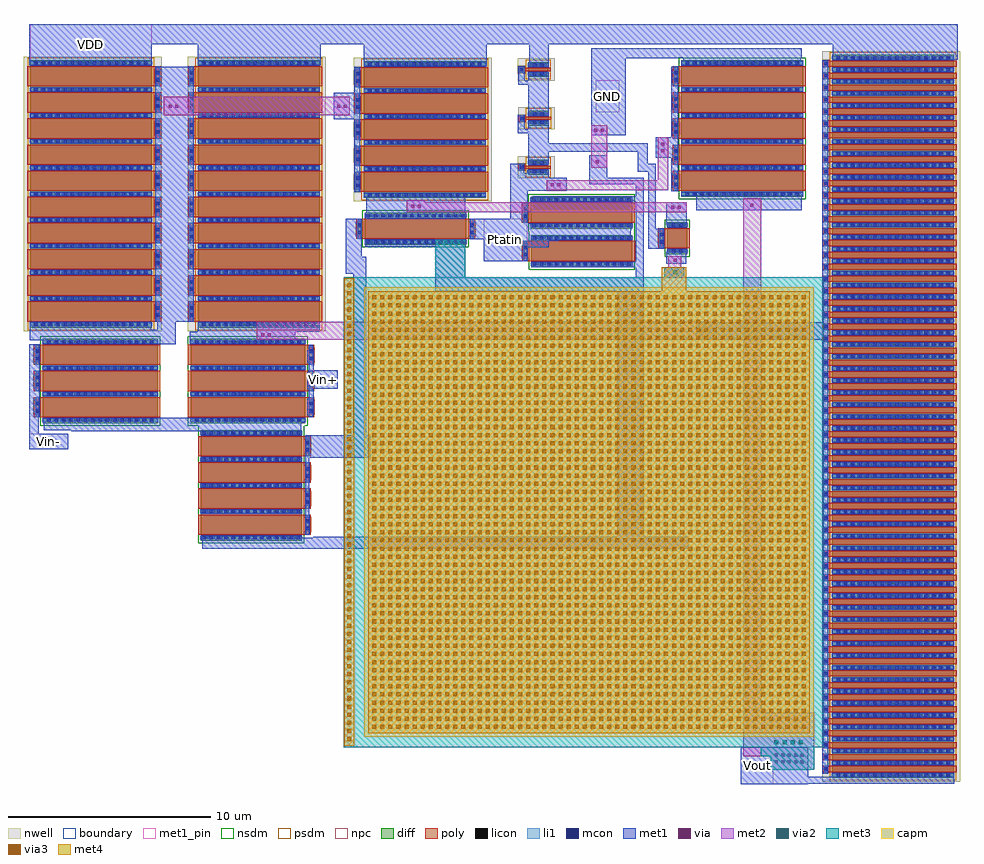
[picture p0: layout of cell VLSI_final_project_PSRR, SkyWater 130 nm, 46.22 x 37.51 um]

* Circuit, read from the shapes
.subckt VLSI_final_project_PSRR GND Ptatin VDD Vin+ Vin- Vout
XM1 n1 Vin- n2 VSUBS sky130_fd_pr__nfet_01v8 w=5.67 l=1
XM2 n3 Vin- n1 VSUBS sky130_fd_pr__nfet_01v8 w=5.67 l=1
XM3 n4 Vin- n3 VSUBS sky130_fd_pr__nfet_01v8 w=5.67 l=1
XM4 n5 Vin+ n2 VSUBS sky130_fd_pr__nfet_01v8 w=5.67 l=1
XM5 n6 Vin+ n5 VSUBS sky130_fd_pr__nfet_01v8 w=5.67 l=1
XM6 n7 Vin+ n6 VSUBS sky130_fd_pr__nfet_01v8 w=5.67 l=1
XM7 n8 Ptatin GND VSUBS sky130_fd_pr__nfet_01v8 w=5 l=1
XM8 n9 Ptatin n8 VSUBS sky130_fd_pr__nfet_01v8 w=5 l=1
XM9 n10 Ptatin n9 VSUBS sky130_fd_pr__nfet_01v8 w=5 l=1
XM10 n2 Ptatin n10 VSUBS sky130_fd_pr__nfet_01v8 w=5 l=1
XM11 n11 Ptatin GND VSUBS sky130_fd_pr__nfet_01v8 w=5 l=1
XM12 GND Ptatin Ptatin VSUBS sky130_fd_pr__nfet_01v8 w=5 l=1 m=2
XM13 n11 n12 Vout VSUBS sky130_fd_pr__nfet_01v8 w=1 l=1
XM14 n13 Ptatin Vout VSUBS sky130_fd_pr__nfet_01v8 w=6 l=1
XM15 n14 Ptatin n13 VSUBS sky130_fd_pr__nfet_01v8 w=6 l=1
XM16 n15 Ptatin n14 VSUBS sky130_fd_pr__nfet_01v8 w=6 l=1
XM17 n16 Ptatin n15 VSUBS sky130_fd_pr__nfet_01v8 w=6 l=1
XM18 GND Ptatin n16 VSUBS sky130_fd_pr__nfet_01v8 w=6 l=1
XM19 n17 n4 n4 n18 sky130_fd_pr__pfet_01v8 w=6 l=1
XM20 n19 n4 n17 n18 sky130_fd_pr__pfet_01v8 w=6 l=1
XM21 n20 n4 n19 n18 sky130_fd_pr__pfet_01v8 w=6 l=1
XM22 n21 n4 n20 n18 sky130_fd_pr__pfet_01v8 w=6 l=1
XM23 n22 n4 n21 n18 sky130_fd_pr__pfet_01v8 w=6 l=1
XM24 n23 n4 n22 n18 sky130_fd_pr__pfet_01v8 w=6 l=1
XM25 n24 n4 n23 n18 sky130_fd_pr__pfet_01v8 w=6 l=1
XM26 n25 n4 n24 n18 sky130_fd_pr__pfet_01v8 w=6 l=1
XM27 n26 n4 n25 n18 sky130_fd_pr__pfet_01v8 w=6 l=1
XM28 VDD n4 n26 n18 sky130_fd_pr__pfet_01v8 w=6 l=1
XM29 n27 n4 n7 n28 sky130_fd_pr__pfet_01v8 w=6 l=1
XM30 n29 n4 n27 n28 sky130_fd_pr__pfet_01v8 w=6 l=1
XM31 n30 n4 n29 n28 sky130_fd_pr__pfet_01v8 w=6 l=1
XM32 n31 n4 n30 n28 sky130_fd_pr__pfet_01v8 w=6 l=1
XM33 n32 n4 n31 n28 sky130_fd_pr__pfet_01v8 w=6 l=1
XM34 n33 n4 n32 n28 sky130_fd_pr__pfet_01v8 w=6 l=1
XM35 n34 n4 n33 n28 sky130_fd_pr__pfet_01v8 w=6 l=1
XM36 n35 n4 n34 n28 sky130_fd_pr__pfet_01v8 w=6 l=1
XM37 n36 n4 n35 n28 sky130_fd_pr__pfet_01v8 w=6 l=1
XM38 VDD n4 n36 n28 sky130_fd_pr__pfet_01v8 w=6 l=1
XM39 n37 n4 n11 n38 sky130_fd_pr__pfet_01v8 w=6 l=1
XM40 n39 n4 n37 n38 sky130_fd_pr__pfet_01v8 w=6 l=1
XM41 n40 n4 n39 n38 sky130_fd_pr__pfet_01v8 w=6 l=1
XM42 n41 n4 n40 n38 sky130_fd_pr__pfet_01v8 w=6 l=1
XM43 VDD n4 n41 n38 sky130_fd_pr__pfet_01v8 w=6 l=1
XM44 n12 Ptatin Ptatin n42 sky130_fd_pr__pfet_01v8 w=1 l=0.15
XM45 VDD n43 n43 n44 sky130_fd_pr__pfet_01v8 w=1 l=0.15
XM46 n43 n12 n12 n45 sky130_fd_pr__pfet_01v8 w=1 l=0.15
XM47 n46 n7 Vout n47 sky130_fd_pr__pfet_01v8 w=6 l=0.3
XM48 n48 n7 n46 n47 sky130_fd_pr__pfet_01v8 w=6 l=0.3
XM49 n49 n7 n48 n47 sky130_fd_pr__pfet_01v8 w=6 l=0.3
XM50 n50 n7 n49 n47 sky130_fd_pr__pfet_01v8 w=6 l=0.3
XM51 n51 n7 n50 n47 sky130_fd_pr__pfet_01v8 w=6 l=0.3
XM52 n52 n7 n51 n47 sky130_fd_pr__pfet_01v8 w=6 l=0.3
XM53 n53 n7 n52 n47 sky130_fd_pr__pfet_01v8 w=6 l=0.3
XM54 n54 n7 n53 n47 sky130_fd_pr__pfet_01v8 w=6 l=0.3
XM55 n55 n7 n54 n47 sky130_fd_pr__pfet_01v8 w=6 l=0.3
XM56 n56 n7 n55 n47 sky130_fd_pr__pfet_01v8 w=6 l=0.3
XM57 n57 n7 n56 n47 sky130_fd_pr__pfet_01v8 w=6 l=0.3
XM58 n58 n7 n57 n47 sky130_fd_pr__pfet_01v8 w=6 l=0.3
XM59 n59 n7 n58 n47 sky130_fd_pr__pfet_01v8 w=6 l=0.3
XM60 n60 n7 n59 n47 sky130_fd_pr__pfet_01v8 w=6 l=0.3
XM61 n61 n7 n60 n47 sky130_fd_pr__pfet_01v8 w=6 l=0.3
XM62 n62 n7 n61 n47 sky130_fd_pr__pfet_01v8 w=6 l=0.3
XM63 n63 n7 n62 n47 sky130_fd_pr__pfet_01v8 w=6 l=0.3
XM64 n64 n7 n63 n47 sky130_fd_pr__pfet_01v8 w=6 l=0.3
XM65 n65 n7 n64 n47 sky130_fd_pr__pfet_01v8 w=6 l=0.3
XM66 n66 n7 n65 n47 sky130_fd_pr__pfet_01v8 w=6 l=0.3
XM67 n67 n7 n66 n47 sky130_fd_pr__pfet_01v8 w=6 l=0.3
XM68 n68 n7 n67 n47 sky130_fd_pr__pfet_01v8 w=6 l=0.3
XM69 n69 n7 n68 n47 sky130_fd_pr__pfet_01v8 w=6 l=0.3
XM70 n70 n7 n69 n47 sky130_fd_pr__pfet_01v8 w=6 l=0.3
XM71 n71 n7 n70 n47 sky130_fd_pr__pfet_01v8 w=6 l=0.3
XM72 n72 n7 n71 n47 sky130_fd_pr__pfet_01v8 w=6 l=0.3
XM73 n73 n7 n72 n47 sky130_fd_pr__pfet_01v8 w=6 l=0.3
XM74 n74 n7 n73 n47 sky130_fd_pr__pfet_01v8 w=6 l=0.3
XM75 n75 n7 n74 n47 sky130_fd_pr__pfet_01v8 w=6 l=0.3
XM76 n76 n7 n75 n47 sky130_fd_pr__pfet_01v8 w=6 l=0.3
XM77 n77 n7 n76 n47 sky130_fd_pr__pfet_01v8 w=6 l=0.3
XM78 n78 n7 n77 n47 sky130_fd_pr__pfet_01v8 w=6 l=0.3
XM79 n79 n7 n78 n47 sky130_fd_pr__pfet_01v8 w=6 l=0.3
XM80 n80 n7 n79 n47 sky130_fd_pr__pfet_01v8 w=6 l=0.3
XM81 n81 n7 n80 n47 sky130_fd_pr__pfet_01v8 w=6 l=0.3
XM82 n82 n7 n81 n47 sky130_fd_pr__pfet_01v8 w=6 l=0.3
XM83 n83 n7 n82 n47 sky130_fd_pr__pfet_01v8 w=6 l=0.3
XM84 n84 n7 n83 n47 sky130_fd_pr__pfet_01v8 w=6 l=0.3
XM85 n85 n7 n84 n47 sky130_fd_pr__pfet_01v8 w=6 l=0.3
XM86 n86 n7 n85 n47 sky130_fd_pr__pfet_01v8 w=6 l=0.3
XM87 n87 n7 n86 n47 sky130_fd_pr__pfet_01v8 w=6 l=0.3
XM88 n88 n7 n87 n47 sky130_fd_pr__pfet_01v8 w=6 l=0.3
XM89 n89 n7 n88 n47 sky130_fd_pr__pfet_01v8 w=6 l=0.3
XM90 n90 n7 n89 n47 sky130_fd_pr__pfet_01v8 w=6 l=0.3
XM91 n91 n7 n90 n47 sky130_fd_pr__pfet_01v8 w=6 l=0.3
XM92 n92 n7 n91 n47 sky130_fd_pr__pfet_01v8 w=6 l=0.3
XM93 n93 n7 n92 n47 sky130_fd_pr__pfet_01v8 w=6 l=0.3
XM94 n94 n7 n93 n47 sky130_fd_pr__pfet_01v8 w=6 l=0.3
XM95 n95 n7 n94 n47 sky130_fd_pr__pfet_01v8 w=6 l=0.3
XM96 n96 n7 n95 n47 sky130_fd_pr__pfet_01v8 w=6 l=0.3
XM97 n97 n7 n96 n47 sky130_fd_pr__pfet_01v8 w=6 l=0.3
XM98 n98 n7 n97 n47 sky130_fd_pr__pfet_01v8 w=6 l=0.3
XM99 n99 n7 n98 n47 sky130_fd_pr__pfet_01v8 w=6 l=0.3
XM100 n100 n7 n99 n47 sky130_fd_pr__pfet_01v8 w=6 l=0.3
XM101 n101 n7 n100 n47 sky130_fd_pr__pfet_01v8 w=6 l=0.3
XM102 n102 n7 n101 n47 sky130_fd_pr__pfet_01v8 w=6 l=0.3
XM103 n103 n7 n102 n47 sky130_fd_pr__pfet_01v8 w=6 l=0.3
XM104 n104 n7 n103 n47 sky130_fd_pr__pfet_01v8 w=6 l=0.3
XM105 n105 n7 n104 n47 sky130_fd_pr__pfet_01v8 w=6 l=0.3
XM106 VDD n7 n105 n47 sky130_fd_pr__pfet_01v8 w=6 l=0.3
XC107 n106 Vout sky130_fd_pr__cap_mim_m3_1 w=22.2 l=22.2
.ends

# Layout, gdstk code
from math import pi, radians
import gdstk
lib = gdstk.Library(unit=1e-6, precision=1e-09)
def R(c, l, rs):  # rectangles x0, y0, x1, y1
    for r in rs: c.add(gdstk.rectangle(r[:2], r[2:], *l))
def A(c, l, x, y, w, h, nx, ny, dx, dy):  # array of equal rectangles
    R(c, l, [(x+i*dx, y+j*dy, x+i*dx+w, y+j*dy+h) for i in range(nx) for j in range(ny)])
nwell = (64, 20)
diff = (65, 20)
poly = (66, 20)
licon = (66, 44)
li1 = (67, 20)
mcon = (67, 44)
met1_pin = (68, 16)
met1 = (68, 20)
via = (68, 44)
met2 = (69, 20)
via2 = (69, 44)
met3 = (70, 20)
via3 = (70, 44)
met4 = (71, 20)
capm = (89, 44)
nsdm = (93, 44)
psdm = (94, 20)
npc = (95, 20)
boundary = (235, 4)

sky130_fd_pr__nfet_01v8_ = lib.new_cell('sky130_fd_pr__nfet_01v8_2ZP93L')
R(sky130_fd_pr__nfet_01v8_, diff, [(-2.08,-2.99,2.08,2.68)])
A(sky130_fd_pr__nfet_01v8_, poly, -1.79, -3.12, 1, 6.24, 3, 1, 1.29, 0)
A(sky130_fd_pr__nfet_01v8_, licon, -2.02, -2.79, 0.17, 0.17, 4, 16, 1.29, 0.34)
R(sky130_fd_pr__nfet_01v8_, licon, [(-1.545,2.87,-1.375,3.04), (-1.205,2.87,-1.035,3.04), (-0.255,2.87,-0.085,3.04), (0.085,2.87,0.255,3.04), (1.035,2.87,1.205,3.04), (1.375,2.87,1.545,3.04)])
A(sky130_fd_pr__nfet_01v8_, li1, -2.02, -3.01, 0.17, 5.71, 4, 1, 1.29, 0)
A(sky130_fd_pr__nfet_01v8_, li1, -1.79, 2.87, 1, 0.17, 3, 1, 1.29, 0)
A(sky130_fd_pr__nfet_01v8_, mcon, -2.02, -2.76, 0.17, 0.17, 4, 15, 1.29, 0.36)
R(sky130_fd_pr__nfet_01v8_, mcon, [(-1.555,2.87,-1.385,3.04), (-1.195,2.87,-1.025,3.04), (-0.265,2.87,-0.095,3.04), (0.095,2.87,0.265,3.04), (1.025,2.87,1.195,3.04), (1.385,2.87,1.555,3.04)])
A(sky130_fd_pr__nfet_01v8_, met1, -2.05, -2.99, 0.23, 5.67, 4, 1, 1.29, 0)
A(sky130_fd_pr__nfet_01v8_, met1, -1.77, 2.84, 0.96, 0.23, 3, 1, 1.29, 0)
R(sky130_fd_pr__nfet_01v8_, nsdm, [(-2.205,-3.115,2.205,2.805)])
A(sky130_fd_pr__nfet_01v8_, npc, -1.645, 2.77, 0.71, 0.37, 3, 1, 1.29, 0)

sky130_fd_pr__pfet_01v8_ = lib.new_cell('sky130_fd_pr__pfet_01v8_SZN6ZN')
R(sky130_fd_pr__pfet_01v8_, nwell, [(-6.775,-3.49,6.775,3.32)])
R(sky130_fd_pr__pfet_01v8_, diff, [(-6.595,-3.18,6.595,2.82)])
A(sky130_fd_pr__pfet_01v8_, poly, -6.305, -3.31, 1, 6.615, 10, 1, 1.29, 0)
A(sky130_fd_pr__pfet_01v8_, licon, -6.535, -2.985, 0.17, 0.17, 11, 17, 1.29, 0.34)
R(sky130_fd_pr__pfet_01v8_, licon, [(-6.06,3.055,-5.89,3.225), (-5.72,3.055,-5.55,3.225), (-4.77,3.055,-4.6,3.225), (-4.43,3.055,-4.26,3.225), (-3.48,3.055,-3.31,3.225), (-3.14,3.055,-2.97,3.225), (-2.19,3.055,-2.02,3.225), (-1.85,3.055,-1.68,3.225), (-0.9,3.055,-0.73,3.225), (-0.56,3.055,-0.39,3.225), (0.39,3.055,0.56,3.225), (0.73,3.055,0.9,3.225), (1.68,3.055,1.85,3.225), (2.02,3.055,2.19,3.225), (2.97,3.055,3.14,3.225), (3.31,3.055,3.48,3.225), (4.26,3.055,4.43,3.225), (4.6,3.055,4.77,3.225), (5.55,3.055,5.72,3.225), (5.89,3.055,6.06,3.225)])
A(sky130_fd_pr__pfet_01v8_, li1, -6.535, -3.2, 0.17, 6.04, 11, 1, 1.29, 0)
A(sky130_fd_pr__pfet_01v8_, li1, -6.305, 3.055, 1, 0.17, 10, 1, 1.29, 0)
A(sky130_fd_pr__pfet_01v8_, mcon, -6.535, -2.965, 0.17, 0.17, 11, 16, 1.29, 0.36)
R(sky130_fd_pr__pfet_01v8_, mcon, [(-6.07,3.055,-5.9,3.225), (-5.71,3.055,-5.54,3.225), (-4.78,3.055,-4.61,3.225), (-4.42,3.055,-4.25,3.225), (-3.49,3.055,-3.32,3.225), (-3.13,3.055,-2.96,3.225), (-2.2,3.055,-2.03,3.225), (-1.84,3.055,-1.67,3.225), (-0.91,3.055,-0.74,3.225), (-0.55,3.055,-0.38,3.225), (0.38,3.055,0.55,3.225), (0.74,3.055,0.91,3.225), (1.67,3.055,1.84,3.225), (2.03,3.055,2.2,3.225), (2.96,3.055,3.13,3.225), (3.32,3.055,3.49,3.225), (4.25,3.055,4.42,3.225), (4.61,3.055,4.78,3.225), (5.54,3.055,5.71,3.225), (5.9,3.055,6.07,3.225)])
A(sky130_fd_pr__pfet_01v8_, met1, -6.565, -3.18, 0.23, 6, 11, 1, 1.29, 0)
A(sky130_fd_pr__pfet_01v8_, met1, -6.285, 3.025, 0.96, 0.23, 10, 1, 1.29, 0)
R(sky130_fd_pr__pfet_01v8_, psdm, [(-6.72,-3.305,6.72,2.945)])
A(sky130_fd_pr__pfet_01v8_, npc, -6.16, 2.955, 0.71, 0.37, 10, 1, 1.29, 0)

c_sky130_fd_pr__nfet_01v8_ = lib.new_cell('sky130_fd_pr__nfet_01v8_73QE7N')
R(c_sky130_fd_pr__nfet_01v8_, diff, [(-2.725,-2.655,2.725,2.345)])
A(c_sky130_fd_pr__nfet_01v8_, poly, -2.435, -2.785, 1, 5.57, 4, 1, 1.29, 0)
A(c_sky130_fd_pr__nfet_01v8_, licon, -2.665, -2.45, 0.17, 0.17, 5, 14, 1.29, 0.34)
R(c_sky130_fd_pr__nfet_01v8_, licon, [(-2.19,2.535,-2.02,2.705), (-1.85,2.535,-1.68,2.705), (-0.9,2.535,-0.73,2.705), (-0.56,2.535,-0.39,2.705), (0.39,2.535,0.56,2.705), (0.73,2.535,0.9,2.705), (1.68,2.535,1.85,2.705), (2.02,2.535,2.19,2.705)])
A(c_sky130_fd_pr__nfet_01v8_, li1, -2.665, -2.675, 0.17, 5.04, 5, 1, 1.29, 0)
A(c_sky130_fd_pr__nfet_01v8_, li1, -2.435, 2.535, 1, 0.17, 4, 1, 1.29, 0)
A(c_sky130_fd_pr__nfet_01v8_, mcon, -2.665, -2.58, 0.17, 0.17, 5, 14, 1.29, 0.36)
R(c_sky130_fd_pr__nfet_01v8_, mcon, [(-2.2,2.535,-2.03,2.705), (-1.84,2.535,-1.67,2.705), (-0.91,2.535,-0.74,2.705), (-0.55,2.535,-0.38,2.705), (0.38,2.535,0.55,2.705), (0.74,2.535,0.91,2.705), (1.67,2.535,1.84,2.705), (2.03,2.535,2.2,2.705)])
A(c_sky130_fd_pr__nfet_01v8_, met1, -2.695, -2.655, 0.23, 5, 5, 1, 1.29, 0)
A(c_sky130_fd_pr__nfet_01v8_, met1, -2.415, 2.505, 0.96, 0.23, 4, 1, 1.29, 0)
R(c_sky130_fd_pr__nfet_01v8_, nsdm, [(-2.85,-2.78,2.85,2.47)])
A(c_sky130_fd_pr__nfet_01v8_, npc, -2.29, 2.435, 0.71, 0.37, 4, 1, 1.29, 0)

c_sky130_fd_pr__pfet_01v8_ = lib.new_cell('sky130_fd_pr__pfet_01v8_XL4TZD')
R(c_sky130_fd_pr__pfet_01v8_, nwell, [(-3.55,-3.32,3.55,3.49)])
R(c_sky130_fd_pr__pfet_01v8_, diff, [(-3.37,-2.82,3.37,3.18)])
A(c_sky130_fd_pr__pfet_01v8_, poly, -3.08, -3.305, 1, 6.615, 5, 1, 1.29, 0)
A(c_sky130_fd_pr__pfet_01v8_, licon, -3.31, -2.625, 0.17, 0.17, 6, 17, 1.29, 0.34)
R(c_sky130_fd_pr__pfet_01v8_, licon, [(-2.835,-3.225,-2.665,-3.055), (-2.495,-3.225,-2.325,-3.055), (-1.545,-3.225,-1.375,-3.055), (-1.205,-3.225,-1.035,-3.055), (-0.255,-3.225,-0.085,-3.055), (0.085,-3.225,0.255,-3.055), (1.035,-3.225,1.205,-3.055), (1.375,-3.225,1.545,-3.055), (2.325,-3.225,2.495,-3.055), (2.665,-3.225,2.835,-3.055)])
A(c_sky130_fd_pr__pfet_01v8_, li1, -3.08, -3.225, 1, 0.17, 5, 1, 1.29, 0)
A(c_sky130_fd_pr__pfet_01v8_, li1, -3.31, -2.84, 0.17, 6.04, 6, 1, 1.29, 0)
A(c_sky130_fd_pr__pfet_01v8_, mcon, -3.31, -2.605, 0.17, 0.17, 6, 16, 1.29, 0.36)
R(c_sky130_fd_pr__pfet_01v8_, mcon, [(-2.845,-3.225,-2.675,-3.055), (-2.485,-3.225,-2.315,-3.055), (-1.555,-3.225,-1.385,-3.055), (-1.195,-3.225,-1.025,-3.055), (-0.265,-3.225,-0.095,-3.055), (0.095,-3.225,0.265,-3.055), (1.025,-3.225,1.195,-3.055), (1.385,-3.225,1.555,-3.055), (2.315,-3.225,2.485,-3.055), (2.675,-3.225,2.845,-3.055)])
A(c_sky130_fd_pr__pfet_01v8_, met1, -3.06, -3.255, 0.96, 0.23, 5, 1, 1.29, 0)
A(c_sky130_fd_pr__pfet_01v8_, met1, -3.34, -2.82, 0.23, 6, 6, 1, 1.29, 0)
R(c_sky130_fd_pr__pfet_01v8_, psdm, [(-3.495,-2.945,3.495,3.305)])
A(c_sky130_fd_pr__pfet_01v8_, npc, -2.935, -3.325, 0.71, 0.37, 5, 1, 1.29, 0)

c_sky130_fd_pr__nfet_01v8__ = lib.new_cell('sky130_fd_pr__nfet_01v8_L4PCGF')
R(c_sky130_fd_pr__nfet_01v8__, diff, [(-0.79,-2.5,0.79,2.5)])
R(c_sky130_fd_pr__nfet_01v8__, poly, [(-0.5,-2.94,0.5,2.94)])
A(c_sky130_fd_pr__nfet_01v8__, licon, -0.73, -2.295, 0.17, 0.17, 1, 14, 0, 0.34)
A(c_sky130_fd_pr__nfet_01v8__, licon, 0.56, -2.295, 0.17, 0.17, 1, 14, 0, 0.34)
R(c_sky130_fd_pr__nfet_01v8__, licon, [(-0.255,-2.86,-0.085,-2.69), (0.085,-2.86,0.255,-2.69), (-0.255,2.69,-0.085,2.86), (0.085,2.69,0.255,2.86)])
R(c_sky130_fd_pr__nfet_01v8__, li1, [(-0.5,-2.86,0.5,-2.69), (-0.73,-2.52,-0.56,2.52), (0.56,-2.52,0.73,2.52), (-0.5,2.69,0.5,2.86)])
A(c_sky130_fd_pr__nfet_01v8__, mcon, -0.73, -2.425, 0.17, 0.17, 1, 14, 0, 0.36)
A(c_sky130_fd_pr__nfet_01v8__, mcon, 0.56, -2.425, 0.17, 0.17, 1, 14, 0, 0.36)
R(c_sky130_fd_pr__nfet_01v8__, mcon, [(-0.265,-2.86,-0.095,-2.69), (0.095,-2.86,0.265,-2.69), (-0.265,2.69,-0.095,2.86), (0.095,2.69,0.265,2.86)])
R(c_sky130_fd_pr__nfet_01v8__, met1, [(-0.48,-2.89,0.48,-2.66), (-0.76,-2.5,-0.53,2.5), (0.53,-2.5,0.76,2.5), (-0.48,2.66,0.48,2.89)])
R(c_sky130_fd_pr__nfet_01v8__, nsdm, [(-0.915,-2.625,0.915,2.625)])
R(c_sky130_fd_pr__nfet_01v8__, npc, [(-0.355,-2.96,0.355,-2.59), (-0.355,2.59,0.355,2.96)])

c_sky130_fd_pr__nfet_01v8___ = lib.new_cell('sky130_fd_pr__nfet_01v8_RYY55T')
R(c_sky130_fd_pr__nfet_01v8___, diff, [(-2.08,-2.68,2.08,2.99)])
A(c_sky130_fd_pr__nfet_01v8___, poly, -1.79, -3.12, 1, 6.24, 3, 1, 1.29, 0)
A(c_sky130_fd_pr__nfet_01v8___, licon, -2.02, -2.48, 0.17, 0.17, 4, 16, 1.29, 0.34)
R(c_sky130_fd_pr__nfet_01v8___, licon, [(-1.545,-3.04,-1.375,-2.87), (-1.205,-3.04,-1.035,-2.87), (-0.255,-3.04,-0.085,-2.87), (0.085,-3.04,0.255,-2.87), (1.035,-3.04,1.205,-2.87), (1.375,-3.04,1.545,-2.87)])
A(c_sky130_fd_pr__nfet_01v8___, li1, -1.79, -3.04, 1, 0.17, 3, 1, 1.29, 0)
A(c_sky130_fd_pr__nfet_01v8___, li1, -2.02, -2.7, 0.17, 5.71, 4, 1, 1.29, 0)
A(c_sky130_fd_pr__nfet_01v8___, mcon, -2.02, -2.45, 0.17, 0.17, 4, 15, 1.29, 0.36)
R(c_sky130_fd_pr__nfet_01v8___, mcon, [(-1.555,-3.04,-1.385,-2.87), (-1.195,-3.04,-1.025,-2.87), (-0.265,-3.04,-0.095,-2.87), (0.095,-3.04,0.265,-2.87), (1.025,-3.04,1.195,-2.87), (1.385,-3.04,1.555,-2.87)])
A(c_sky130_fd_pr__nfet_01v8___, met1, -1.77, -3.07, 0.96, 0.23, 3, 1, 1.29, 0)
A(c_sky130_fd_pr__nfet_01v8___, met1, -2.05, -2.68, 0.23, 5.67, 4, 1, 1.29, 0)
R(c_sky130_fd_pr__nfet_01v8___, nsdm, [(-2.205,-2.805,2.205,3.115)])
A(c_sky130_fd_pr__nfet_01v8___, npc, -1.645, -3.14, 0.71, 0.37, 3, 1, 1.29, 0)

c_sky130_fd_pr__pfet_01v8__ = lib.new_cell('sky130_fd_pr__pfet_01v8_9WN6ZY')
R(c_sky130_fd_pr__pfet_01v8__, nwell, [(-6.775,-3.32,6.775,3.49)])
R(c_sky130_fd_pr__pfet_01v8__, diff, [(-6.595,-2.82,6.595,3.18)])
A(c_sky130_fd_pr__pfet_01v8__, poly, -6.305, -3.305, 1, 6.615, 10, 1, 1.29, 0)
A(c_sky130_fd_pr__pfet_01v8__, licon, -6.535, -2.625, 0.17, 0.17, 11, 17, 1.29, 0.34)
R(c_sky130_fd_pr__pfet_01v8__, licon, [(-6.06,-3.225,-5.89,-3.055), (-5.72,-3.225,-5.55,-3.055), (-4.77,-3.225,-4.6,-3.055), (-4.43,-3.225,-4.26,-3.055), (-3.48,-3.225,-3.31,-3.055), (-3.14,-3.225,-2.97,-3.055), (-2.19,-3.225,-2.02,-3.055), (-1.85,-3.225,-1.68,-3.055), (-0.9,-3.225,-0.73,-3.055), (-0.56,-3.225,-0.39,-3.055), (0.39,-3.225,0.56,-3.055), (0.73,-3.225,0.9,-3.055), (1.68,-3.225,1.85,-3.055), (2.02,-3.225,2.19,-3.055), (2.97,-3.225,3.14,-3.055), (3.31,-3.225,3.48,-3.055), (4.26,-3.225,4.43,-3.055), (4.6,-3.225,4.77,-3.055), (5.55,-3.225,5.72,-3.055), (5.89,-3.225,6.06,-3.055)])
A(c_sky130_fd_pr__pfet_01v8__, li1, -6.305, -3.225, 1, 0.17, 10, 1, 1.29, 0)
A(c_sky130_fd_pr__pfet_01v8__, li1, -6.535, -2.84, 0.17, 6.04, 11, 1, 1.29, 0)
A(c_sky130_fd_pr__pfet_01v8__, mcon, -6.535, -2.605, 0.17, 0.17, 11, 16, 1.29, 0.36)
R(c_sky130_fd_pr__pfet_01v8__, mcon, [(-6.07,-3.225,-5.9,-3.055), (-5.71,-3.225,-5.54,-3.055), (-4.78,-3.225,-4.61,-3.055), (-4.42,-3.225,-4.25,-3.055), (-3.49,-3.225,-3.32,-3.055), (-3.13,-3.225,-2.96,-3.055), (-2.2,-3.225,-2.03,-3.055), (-1.84,-3.225,-1.67,-3.055), (-0.91,-3.225,-0.74,-3.055), (-0.55,-3.225,-0.38,-3.055), (0.38,-3.225,0.55,-3.055), (0.74,-3.225,0.91,-3.055), (1.67,-3.225,1.84,-3.055), (2.03,-3.225,2.2,-3.055), (2.96,-3.225,3.13,-3.055), (3.32,-3.225,3.49,-3.055), (4.25,-3.225,4.42,-3.055), (4.61,-3.225,4.78,-3.055), (5.54,-3.225,5.71,-3.055), (5.9,-3.225,6.07,-3.055)])
A(c_sky130_fd_pr__pfet_01v8__, met1, -6.285, -3.255, 0.96, 0.23, 10, 1, 1.29, 0)
A(c_sky130_fd_pr__pfet_01v8__, met1, -6.565, -2.82, 0.23, 6, 11, 1, 1.29, 0)
R(c_sky130_fd_pr__pfet_01v8__, psdm, [(-6.72,-2.945,6.72,3.305)])
A(c_sky130_fd_pr__pfet_01v8__, npc, -6.16, -3.325, 0.71, 0.37, 10, 1, 1.29, 0)

c_sky130_fd_pr__pfet_01v8___ = lib.new_cell('sky130_fd_pr__pfet_01v8_B33NDC')
R(c_sky130_fd_pr__pfet_01v8___, nwell, [(-0.545,-0.82,0.545,0.99)])
R(c_sky130_fd_pr__pfet_01v8___, diff, [(-0.365,-0.32,0.365,0.68)])
R(c_sky130_fd_pr__pfet_01v8___, poly, [(-0.165,-0.805,0.165,-0.475), (-0.075,-0.475,0.075,0.81)])
A(c_sky130_fd_pr__pfet_01v8___, licon, -0.305, -0.245, 0.17, 0.17, 1, 3, 0, 0.34)
A(c_sky130_fd_pr__pfet_01v8___, licon, 0.135, -0.245, 0.17, 0.17, 1, 3, 0, 0.34)
R(c_sky130_fd_pr__pfet_01v8___, licon, [(-0.085,-0.725,0.085,-0.555)])
R(c_sky130_fd_pr__pfet_01v8___, li1, [(-0.165,-0.725,0.165,-0.555), (-0.305,-0.34,-0.135,0.7), (0.135,-0.34,0.305,0.7)])
R(c_sky130_fd_pr__pfet_01v8___, mcon, [(-0.085,-0.725,0.085,-0.555), (-0.305,-0.085,-0.135,0.085), (0.135,-0.085,0.305,0.085), (-0.305,0.275,-0.135,0.445), (0.135,0.275,0.305,0.445)])
R(c_sky130_fd_pr__pfet_01v8___, met1, [(-0.145,-0.755,0.145,-0.525), (-0.335,-0.32,-0.105,0.68), (0.105,-0.32,0.335,0.68)])
R(c_sky130_fd_pr__pfet_01v8___, psdm, [(-0.49,-0.445,0.49,0.805)])
R(c_sky130_fd_pr__pfet_01v8___, npc, [(-0.185,-0.825,0.185,-0.455)])

c_sky130_fd_pr__nfet_01v8____ = lib.new_cell('sky130_fd_pr__nfet_01v8_ND6MQZ')
R(c_sky130_fd_pr__nfet_01v8____, diff, [(-0.79,-2.345,0.79,2.655)])
R(c_sky130_fd_pr__nfet_01v8____, poly, [(-0.5,-2.785,0.5,2.785)])
A(c_sky130_fd_pr__nfet_01v8____, licon, -0.73, -2.14, 0.17, 0.17, 1, 14, 0, 0.34)
A(c_sky130_fd_pr__nfet_01v8____, licon, 0.56, -2.14, 0.17, 0.17, 1, 14, 0, 0.34)
R(c_sky130_fd_pr__nfet_01v8____, licon, [(-0.255,-2.705,-0.085,-2.535), (0.085,-2.705,0.255,-2.535)])
R(c_sky130_fd_pr__nfet_01v8____, li1, [(-0.5,-2.705,0.5,-2.535), (-0.73,-2.365,-0.56,2.675), (0.56,-2.365,0.73,2.675)])
A(c_sky130_fd_pr__nfet_01v8____, mcon, -0.73, -2.27, 0.17, 0.17, 1, 14, 0, 0.36)
A(c_sky130_fd_pr__nfet_01v8____, mcon, 0.56, -2.27, 0.17, 0.17, 1, 14, 0, 0.36)
R(c_sky130_fd_pr__nfet_01v8____, mcon, [(-0.265,-2.705,-0.095,-2.535), (0.095,-2.705,0.265,-2.535)])
R(c_sky130_fd_pr__nfet_01v8____, met1, [(-0.48,-2.735,0.48,-2.505), (-0.76,-2.345,-0.53,2.655), (0.53,-2.345,0.76,2.655)])
R(c_sky130_fd_pr__nfet_01v8____, nsdm, [(-0.915,-2.47,0.915,2.78)])
R(c_sky130_fd_pr__nfet_01v8____, npc, [(-0.355,-2.805,0.355,-2.435)])

c_sky130_fd_pr__nfet_01v8_____ = lib.new_cell('sky130_fd_pr__nfet_01v8_QG6R6A')
R(c_sky130_fd_pr__nfet_01v8_____, diff, [(-0.79,-0.655,0.79,0.345)])
R(c_sky130_fd_pr__nfet_01v8_____, poly, [(-0.5,-0.785,0.5,0.785)])
A(c_sky130_fd_pr__nfet_01v8_____, licon, -0.73, -0.58, 0.17, 0.17, 1, 3, 0, 0.34)
A(c_sky130_fd_pr__nfet_01v8_____, licon, 0.56, -0.58, 0.17, 0.17, 1, 3, 0, 0.34)
R(c_sky130_fd_pr__nfet_01v8_____, licon, [(-0.255,0.535,-0.085,0.705), (0.085,0.535,0.255,0.705)])
R(c_sky130_fd_pr__nfet_01v8_____, li1, [(-0.73,-0.675,-0.56,0.365), (0.56,-0.675,0.73,0.365), (-0.5,0.535,0.5,0.705)])
R(c_sky130_fd_pr__nfet_01v8_____, mcon, [(-0.73,-0.42,-0.56,-0.25), (0.56,-0.42,0.73,-0.25), (-0.73,-0.06,-0.56,0.11), (0.56,-0.06,0.73,0.11), (-0.265,0.535,-0.095,0.705), (0.095,0.535,0.265,0.705)])
R(c_sky130_fd_pr__nfet_01v8_____, met1, [(-0.76,-0.655,-0.53,0.345), (0.53,-0.655,0.76,0.345), (-0.48,0.505,0.48,0.735)])
R(c_sky130_fd_pr__nfet_01v8_____, nsdm, [(-0.915,-0.78,0.915,0.47)])
R(c_sky130_fd_pr__nfet_01v8_____, npc, [(-0.355,0.435,0.355,0.805)])

c_sky130_fd_pr__pfet_01v8____ = lib.new_cell('sky130_fd_pr__pfet_01v8_CYNCWQ')
R(c_sky130_fd_pr__pfet_01v8____, nwell, [(-18.025,-3.49,18.025,3.32)])
R(c_sky130_fd_pr__pfet_01v8____, diff, [(-17.845,-3.18,17.845,2.82)])
A(c_sky130_fd_pr__pfet_01v8____, poly, -17.555, -3.31, 0.3, 6.285, 60, 1, 0.59, 0)
A(c_sky130_fd_pr__pfet_01v8____, poly, -17.57, 2.975, 0.33, 0.33, 60, 1, 0.59, 0)
A(c_sky130_fd_pr__pfet_01v8____, licon, -17.785, -2.985, 0.17, 0.17, 61, 17, 0.59, 0.34)
A(c_sky130_fd_pr__pfet_01v8____, licon, -17.49, 3.055, 0.17, 0.17, 60, 1, 0.59, 0)
A(c_sky130_fd_pr__pfet_01v8____, li1, -17.785, -3.2, 0.17, 6.04, 61, 1, 0.59, 0)
A(c_sky130_fd_pr__pfet_01v8____, li1, -17.57, 3.055, 0.33, 0.17, 60, 1, 0.59, 0)
A(c_sky130_fd_pr__pfet_01v8____, mcon, -17.785, -2.965, 0.17, 0.17, 61, 16, 0.59, 0.36)
A(c_sky130_fd_pr__pfet_01v8____, mcon, -17.49, 3.055, 0.17, 0.17, 60, 1, 0.59, 0)
A(c_sky130_fd_pr__pfet_01v8____, met1, -17.815, -3.18, 0.23, 6, 61, 1, 0.59, 0)
A(c_sky130_fd_pr__pfet_01v8____, met1, -17.55, 3.025, 0.29, 0.23, 60, 1, 0.59, 0)
R(c_sky130_fd_pr__pfet_01v8____, psdm, [(-17.97,-3.305,17.97,2.945)])
R(c_sky130_fd_pr__pfet_01v8____, npc, [(-17.59,2.955,17.59,3.325)])

c_sky130_fd_pr__nfet_01v8______ = lib.new_cell('sky130_fd_pr__nfet_01v8_C8PJZM')
R(c_sky130_fd_pr__nfet_01v8______, diff, [(-3.37,-2.845,3.37,3.155)])
A(c_sky130_fd_pr__nfet_01v8______, poly, -3.08, -3.285, 1, 6.57, 5, 1, 1.29, 0)
A(c_sky130_fd_pr__nfet_01v8______, licon, -3.31, -2.65, 0.17, 0.17, 6, 17, 1.29, 0.34)
R(c_sky130_fd_pr__nfet_01v8______, licon, [(-2.835,-3.205,-2.665,-3.035), (-2.495,-3.205,-2.325,-3.035), (-1.545,-3.205,-1.375,-3.035), (-1.205,-3.205,-1.035,-3.035), (-0.255,-3.205,-0.085,-3.035), (0.085,-3.205,0.255,-3.035), (1.035,-3.205,1.205,-3.035), (1.375,-3.205,1.545,-3.035), (2.325,-3.205,2.495,-3.035), (2.665,-3.205,2.835,-3.035)])
A(c_sky130_fd_pr__nfet_01v8______, li1, -3.08, -3.205, 1, 0.17, 5, 1, 1.29, 0)
A(c_sky130_fd_pr__nfet_01v8______, li1, -3.31, -2.865, 0.17, 6.04, 6, 1, 1.29, 0)
A(c_sky130_fd_pr__nfet_01v8______, mcon, -3.31, -2.63, 0.17, 0.17, 6, 16, 1.29, 0.36)
R(c_sky130_fd_pr__nfet_01v8______, mcon, [(-2.845,-3.205,-2.675,-3.035), (-2.485,-3.205,-2.315,-3.035), (-1.555,-3.205,-1.385,-3.035), (-1.195,-3.205,-1.025,-3.035), (-0.265,-3.205,-0.095,-3.035), (0.095,-3.205,0.265,-3.035), (1.025,-3.205,1.195,-3.035), (1.385,-3.205,1.555,-3.035), (2.315,-3.205,2.485,-3.035), (2.675,-3.205,2.845,-3.035)])
A(c_sky130_fd_pr__nfet_01v8______, met1, -3.06, -3.235, 0.96, 0.23, 5, 1, 1.29, 0)
A(c_sky130_fd_pr__nfet_01v8______, met1, -3.34, -2.845, 0.23, 6, 6, 1, 1.29, 0)
R(c_sky130_fd_pr__nfet_01v8______, nsdm, [(-3.495,-2.97,3.495,3.28)])
A(c_sky130_fd_pr__nfet_01v8______, npc, -2.935, -3.305, 0.71, 0.37, 5, 1, 1.29, 0)

sky130_fd_pr__cap_mim_m3 = lib.new_cell('sky130_fd_pr__cap_mim_m3_1_5JY5WN')
R(sky130_fd_pr__cap_mim_m3, met3, [(-11.85,-11.6,11.845,11.6)])
A(sky130_fd_pr__cap_mim_m3, via3, 11.485, -11.3, 0.2, 0.2, 1, 57, 0, 0.4)
A(sky130_fd_pr__cap_mim_m3, via3, -10.95, -10.7, 0.2, 0.2, 54, 54, 0.4, 0.4)
R(sky130_fd_pr__cap_mim_m3, met4, [(11.345,-11.54,11.825,11.54), (-11.155,-10.905,10.655,10.905)])
R(sky130_fd_pr__cap_mim_m3, capm, [(-11.35,-11.1,10.85,11.1)])
R(sky130_fd_pr__cap_mim_m3, boundary, [(-11.85,-11.6,11.35,11.6)])

vlsi_final_project_psrr = lib.new_cell('VLSI_final_project_PSRR')
R(vlsi_final_project_psrr, met1_pin, [(22.29,26.49,23.89,28.31), (-12.83,43,-10.9,43.78), (0.94,46,2.4,46.9), (9.6,52.3,11.76,54.4), (15.14,59.64,16.3,61.22), (-12.79,61.95,-6.79,64)])
R(vlsi_final_project_psrr, met1, [(22.29,26.49,25.61,26.5), (22.29,26.5,32.82,26.86), (22.29,26.86,25.61,28.31), (26.77,26.86,32.82,27.02), (26.3,27,26.6,48.41), (-4.3,38.1,19.7,38.6), (-4.1,38.6,19.7,38.65), (-4.1,38.65,0.65,38.7), (1.2,38.65,19.7,38.7), (16.19,38.7,17.5,50.8), (0.8,38.79,1,42.6), (0.79,42.6,4.01,43.7), (-12.83,43,-10.9,43.78), (3.17,43.7,3.8,51.68), (-12.83,43.78,-12.35,44.59), (-4.69,43.89,0.6,43.9), (-10.76,43.9,0.6,43.96), (-12.12,43.96,0.6,44.54), (-7.35,44.54,0.6,44.56), (-12.83,44.59,-12.3,48.2), (0.9,44.7,1.21,45.5), (0.96,45.5,1.21,45.98), (0.9,45.98,1.21,46), (0.9,46,2.4,46.8), (0.94,46.8,2.4,46.9), (0.96,46.9,1.21,47.27), (0.9,47.27,1.21,47.9), (-12.1,48.2,-5.6,48.4), (-4.9,48.2,0.3,48.8), (-12.8,48.4,-5.6,48.9), (20.1,48.41,26.61,49.29), (-4.51,48.8,1.5,49.3), (-12.8,48.9,-6.8,49.3), (-6.51,48.9,-5.6,49.3), (26.3,49.29,26.6,62.2), (-6.6,49.3,-4.7,61.9), (7.2,50.8,17.5,51.5), (7.2,51.5,8.69,53.01), (16.19,51.5,17.5,51.51), (18.5,51.5,19.51,52), (17.1,51.51,17.5,52), (2.8,51.68,3.8,52.51), (12,52,17.5,52.27), (18.6,52.16,19.6,52.75), (17.1,52.27,17.5,55.24), (9.6,52.3,11.76,52.56), (2.8,52.51,3.57,54.4), (9.6,52.56,11.77,52.99), (18.65,52.75,19.6,52.91), (17.72,52.9,18.5,53.9), (9.6,52.99,12.8,53.3), (3.75,53.01,8.72,53.37), (9.6,53.3,13.31,53.35), (9.6,53.35,16.86,53.38), (8.9,53.38,16.86,53.81), (8.9,53.81,16.88,53.92), (17.72,53.9,18.08,56.7), (8.9,53.92,16.89,54.14), (18.7,53.94,19.62,54.1), (18.6,54.1,19.62,55.21), (8.9,54.14,13.31,54.16), (14.6,54.14,16.15,54.16), (8.9,54.16,11.77,54.4), (3.8,54.4,8.7,55.65), (10.9,54.4,11.77,55.76), (20.1,54.8,25.3,55.71), (11.99,55.24,17.5,55.51), (17.1,55.51,17.5,56.1), (3.2,55.7,3.5,59.3), (18.85,55.75,19.2,57.4), (10.9,55.76,13.7,56.4), (14.8,56.1,17.5,56.4), (10.9,56.4,12.81,56.64), (14.8,56.4,15.7,57.51), (10.9,56.64,11.6,57.1), (11.74,56.64,12.81,56.8), (17.2,56.7,18.08,57.1), (11.8,57.07,12.8,57.7), (17.2,57.1,17.7,57.7), (18.1,57.4,19.2,58.4), (11.8,57.7,17.7,58.11), (11.8,58.11,12.8,58.6), (18.85,58.4,19.2,61.9), (14.9,58.5,16.62,62.3), (11.29,58.6,12.8,58.8), (11.29,58.8,11.62,59.51), (11.8,58.8,12.8,59.21), (2.2,59.3,3.5,60.6), (11.8,59.48,12.8,61), (3.2,60.6,3.5,61.9), (11.3,61,12.8,61.2), (11.3,61.2,11.63,61.91), (11.8,61.2,12.8,61.62), (11.84,61.87,12.81,63), (3.69,61.92,9.75,63), (-12.84,61.96,-6.78,63), (-4.51,61.97,1.55,63), (19.46,61.98,25.29,62.1), (19.46,62.1,25.3,62.15), (19.46,62.15,25.24,62.32), (26.83,62.24,33,63), (14.9,62.3,19.2,62.33), (19.46,62.32,25.31,62.33), (14.9,62.33,25.31,62.81), (-12.84,63,33,64)])
A(vlsi_final_project_psrr, via, 23.975, 27.52, 0.15, 0.15, 5, 2, 0.32, 0.32)
R(vlsi_final_project_psrr, via, [(-1.385,48.575,-1.235,48.725), (-1.065,48.575,-0.915,48.725), (20.315,48.775,20.465,48.925), (20.635,48.775,20.785,48.925), (18.975,52.275,19.125,52.425), (18.865,54.875,19.015,55.025), (19.185,54.875,19.335,55.025), (6.015,54.925,6.165,55.075), (6.335,54.925,6.485,55.075), (22.765,54.975,22.915,55.125), (12.915,55.98,13.065,56.13), (13.235,55.98,13.385,56.13), (15.125,57.125,15.275,57.275), (18.37,57.665,18.52,57.815), (18.37,57.985,18.52,58.135), (15.065,58.675,15.215,58.825), (15.385,58.675,15.535,58.825), (-5.935,59.875,-5.785,60.025), (-5.615,59.875,-5.465,60.025), (2.365,59.875,2.515,60.025), (2.685,59.875,2.835,60.025)])
R(vlsi_final_project_psrr, met2, [(23.77,27.19,25.91,27.85), (22.4,27.85,25.91,30), (22.4,30,23.3,55.4), (-1.61,48.41,21.1,49.3), (18.5,51.5,19.51,52), (18.7,52,19.36,52.53), (5.8,54.7,19.61,55.2), (5.8,55.2,6.7,55.3), (12.7,55.8,18.7,56.3), (18.2,56.3,18.7,58.4), (14.9,56.9,15.7,59.01), (-6.2,59.5,3,60.4)])
A(vlsi_final_project_psrr, via2, 23.95, 28.455, 0.2, 0.2, 4, 1, 0.4, 0)
R(vlsi_final_project_psrr, via2, [(18.95,51.65,19.15,51.85)])
R(vlsi_final_project_psrr, met3, [(23.77,27.19,25.91,27.85), (23.28,27.85,25.91,30), (7.2,50.8,8.69,53.35), (18.5,51.5,19.51,52)])
R(vlsi_final_project_psrr, met4, [(18.4,50.4,19.6,52)])
R(vlsi_final_project_psrr, nsdm, [(-4.495,44.075,0.755,44.175), (11.815,53.705,17.055,53.775)])
vlsi_final_project_psrr.add(gdstk.Reference(sky130_fd_pr__nfet_01v8_, (-9.48,46.38), rotation=pi/2))
vlsi_final_project_psrr.add(gdstk.Reference(sky130_fd_pr__pfet_01v8_, (-9.61,55.615), rotation=3*pi/2))
vlsi_final_project_psrr.add(gdstk.Reference(c_sky130_fd_pr__nfet_01v8_, (-1.715,41.225), rotation=3*pi/2))
vlsi_final_project_psrr.add(gdstk.Reference(c_sky130_fd_pr__pfet_01v8_, (6.51,58.79), rotation=3*pi/2))
vlsi_final_project_psrr.add(gdstk.Reference(c_sky130_fd_pr__nfet_01v8__, (6.24,53.89), rotation=3*pi/2))
vlsi_final_project_psrr.add(gdstk.Reference(c_sky130_fd_pr__nfet_01v8___, (-1.88,46.38), rotation=pi/2))
vlsi_final_project_psrr.add(gdstk.Reference(c_sky130_fd_pr__pfet_01v8__, (-1.68,55.615), rotation=3*pi/2))
vlsi_final_project_psrr.add(gdstk.Reference(c_sky130_fd_pr__pfet_01v8___, (12.11,61.755), rotation=3*pi/2))
vlsi_final_project_psrr.add(gdstk.Reference(c_sky130_fd_pr__nfet_01v8____, (14.285,52.79), rotation=3*pi/2))
vlsi_final_project_psrr.add(gdstk.Reference(c_sky130_fd_pr__nfet_01v8_____, (18.995,53.43), rotation=pi/2))
vlsi_final_project_psrr.add(gdstk.Reference(c_sky130_fd_pr__pfet_01v8____, (29.63,44.635), rotation=pi/2))
vlsi_final_project_psrr.add(gdstk.Reference(c_sky130_fd_pr__nfet_01v8______, (22.205,58.84), rotation=3*pi/2))
vlsi_final_project_psrr.add(gdstk.Reference(c_sky130_fd_pr__nfet_01v8____, (14.275,54.69), rotation=3*pi/2))
vlsi_final_project_psrr.add(gdstk.Reference(c_sky130_fd_pr__pfet_01v8___, (12.12,59.345), rotation=3*pi/2))
vlsi_final_project_psrr.add(gdstk.Reference(c_sky130_fd_pr__pfet_01v8___, (12.11,56.935), rotation=3*pi/2))
vlsi_final_project_psrr.add(gdstk.Reference(sky130_fd_pr__cap_mim_m3, (14.545,39.91), rotation=pi))
vlsi_final_project_psrr.add(gdstk.Label('Vin-', (-11.865,43.39), layer=68, texttype=16))
vlsi_final_project_psrr.add(gdstk.Label('Vin+', (1.67,46.45), layer=68, texttype=16))
vlsi_final_project_psrr.add(gdstk.Label('Ptatin', (10.68,53.35), layer=68, texttype=16))
vlsi_final_project_psrr.add(gdstk.Label('GND', (15.72,60.43), layer=68, texttype=16))
vlsi_final_project_psrr.add(gdstk.Label('Vout', (23.09,27.4), layer=68, texttype=16))
vlsi_final_project_psrr.add(gdstk.Label('VDD', (-9.79,62.975), layer=68, texttype=16))

lib.write_gds('VLSI_final_project_PSRR.gds')
